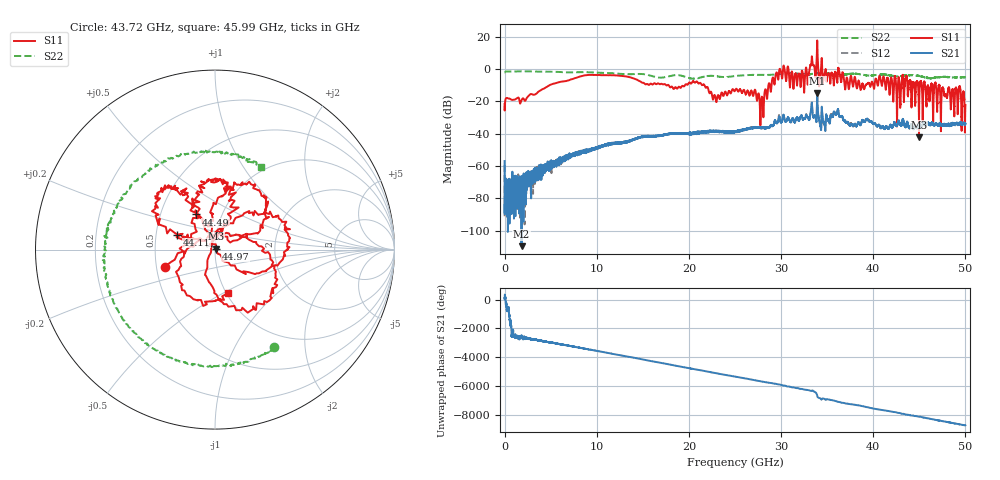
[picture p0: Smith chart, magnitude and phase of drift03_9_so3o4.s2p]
!Created with skrf (http://scikit-rf.org).
# Hz S RI R 50.0
!freq ReS11 ImS11 ReS21 ImS21 ReS12 ImS12 ReS22 ImS22
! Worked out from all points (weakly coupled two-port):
!   10001 points, 300 kHz to 50 GHz, reference 50 ohm
!   highest |S21| = -15.02 dB at 33.92 GHz (marker M1); lowest = -109.7 dB at 1.835 GHz (marker M2)
!   lowest |S11| = -42.2 dB at 44.97 GHz (marker M3), VSWR 1.02, Z = 50.6 + j0.517 ohm
!   |S11| at or under -10 dB: start of sweep to 4.849 GHz; 21.69 GHz to 28.62 GHz (6.932 GHz wide, 27.6 % of centre); 47.17 GHz to end of sweep (the widest 3 of 41)
!   |S22| runs from -6.0 to -1.3 dB; largest |S21 - S12| = 0.018
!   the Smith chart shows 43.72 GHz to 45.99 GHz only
!   S11 on the Smith chart (normalised r, x): 43.72 GHz: 0.55, -0.12; 44.11 GHz: 0.64, +0.11; 44.49 GHz: 0.75, +0.31; 44.97 GHz: 1.01, +0.01; 45.99 GHz: 1.02, -0.53
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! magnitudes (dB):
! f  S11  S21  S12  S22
! 300 kHz  -21.6  -56.9  -59.2  -2.1
! 255.3 MHz  -17.9  -83.1  -71.3  -1.4
! 1.835 GHz  -19.3  -109.7  -73.4  -1.4
! 8.335 GHz  -4.3  -51.6  -51.9  -1.9
! 16.67 GHz  -8.8  -41.2  -41.5  -5.2
! 21.02 GHz  -8.8  -39.5  -39.5  -5.6
! 22.81 GHz  -16.2  -38.4  -38.5  -4.3
! 25 GHz  -13.4  -38.9  -38.8  -4.2
! 27.91 GHz  -17.2  -36.6  -36.4  -3.5
! 29.69 GHz  -6.5  -32.3  -31.7  -3.1
! 32.32 GHz  -1.5  -30.4  -30.7  -3.3
! 33.34 GHz  7.7  -20.7  -20.9  -2.9
! 33.92 GHz  17.8  -15.0  -15.4  -2.5
! 38.81 GHz  -9.0  -31.5  -31.9  -3.4
! 41.67 GHz  -9.0  -36.9  -36.8  -3.7
! 43.72 GHz  -10.6  -32.9  -33.5  -4.0
! 44.11 GHz  -12.9  -34.8  -34.6  -3.7
! 44.49 GHz  -13.0  -36.0  -35.7  -3.8
! 44.97 GHz  -42.2  -34.8  -35.0  -4.3
! 45.99 GHz  -11.9  -33.8  -33.5  -5.5
! 49.2 GHz  -21.1  -33.6  -33.6  -5.1
! 50 GHz  -22.3  -34.1  -33.9  -5.0
